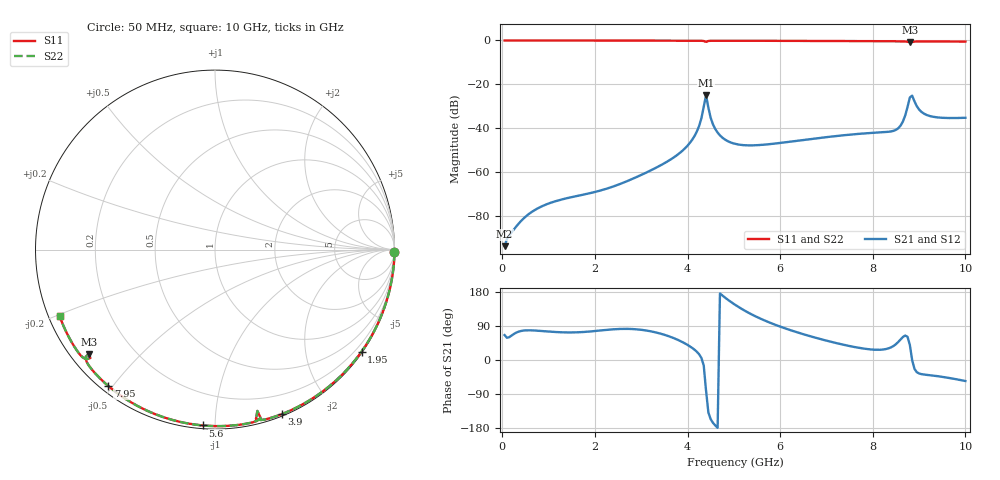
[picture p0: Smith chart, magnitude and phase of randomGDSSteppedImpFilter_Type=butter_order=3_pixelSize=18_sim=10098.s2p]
! freq	dB(S11)	phase(S11)	dB(S12)	phase(S12)
!  dB(S21)	phase(S21)	dB(S22)	phase(S22)
!S-par simulation data
#  GHz  S  DB  R 50
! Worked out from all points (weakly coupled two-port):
!   200 points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, 50 MHz to 10 GHz, reference 50 ohm
!   highest |S21| = -24.94 dB at 4.4 GHz (marker M1); lowest = -93.7 dB at 50 MHz (marker M2)
!   lowest |S11| = -0.8 dB at 8.8 GHz (marker M3), VSWR 21.94, Z = 2.57 - j17.9 ohm
!   |S11| at or under -10 dB: nowhere
!   |S22| runs from -0.8 to 0.0 dB; largest |S21 - S12| = 0
!   S11 on the Smith chart (normalised r, x): 50 MHz: open; 1.95 GHz: 0.03, -3.19; 3.9 GHz: 0.02, -1.49; 5.6 GHz: 0.02, -0.93; 7.95 GHz: 0.02, -0.49; 10 GHz: 0.03, -0.21
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0.05  -0.00 -0.9  -93.70 65.7  -93.70 65.7  -0.00 -0.9
0.5  -0.01 -9.1  -80.32 78.1  -80.32 78.1  -0.01 -9.1
1.75  -0.04 -31.4  -70.23 73.9  -70.23 73.9  -0.04 -31.4
1.95  -0.04 -34.9  -69.28 75.8  -69.28 75.8  -0.04 -34.9
3.4  -0.08 -59.5  -57.09 70.1  -57.09 70.1  -0.08 -59.5
3.9  -0.09 -67.8  -50.03 46.7  -50.03 46.7  -0.09 -67.8
4.2  -0.11 -72.9  -41.53 21.9  -41.53 21.9  -0.11 -72.9
4.3  -0.15 -75.0  -35.43 5.4  -35.43 5.4  -0.15 -75.0
4.4  -0.64 -75.3  -24.94 -80.9  -24.94 -80.9  -0.64 -75.3
4.5  -0.16 -76.2  -35.27 -156.3  -35.27 -156.3  -0.16 -76.2
4.6  -0.13 -78.2  -40.39 -173.0  -40.39 -173.0  -0.13 -78.2
5.05  -0.13 -85.5  -47.17 143.9  -47.17 143.9  -0.13 -85.5
5.6  -0.16 -93.9  -47.56 107.7  -47.56 107.7  -0.16 -93.9
6.7  -0.22 -110.1  -44.80 60.9  -44.80 60.9  -0.22 -110.1
7.95  -0.31 -128.1  -42.15 27.9  -42.15 27.9  -0.31 -128.1
8.35  -0.36 -133.8  -41.58 31.1  -41.58 31.1  -0.36 -133.8
8.6  -0.41 -137.7  -38.81 54.2  -38.81 54.2  -0.41 -137.7
8.8  -0.79 -140.4  -25.99 40.2  -25.99 40.2  -0.79 -140.4
8.85  -0.72 -139.0  -25.15 -0.0  -25.15 -0.0  -0.72 -138.9
9  -0.42 -141.8  -31.45 -35.6  -31.45 -35.6  -0.42 -141.8
9.2  -0.42 -145.0  -34.22 -39.7  -34.22 -39.7  -0.42 -145.0
10  -0.52 -156.8  -35.22 -55.4  -35.22 -55.4  -0.52 -156.8
